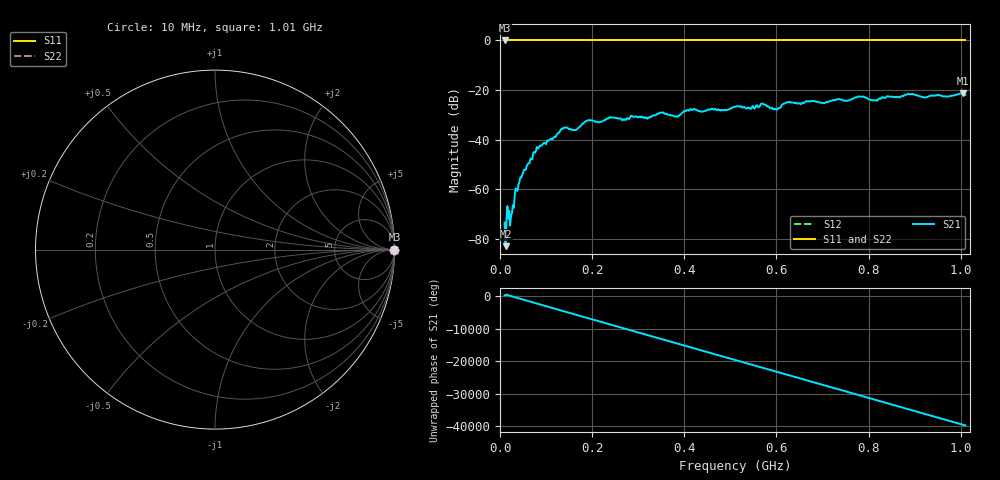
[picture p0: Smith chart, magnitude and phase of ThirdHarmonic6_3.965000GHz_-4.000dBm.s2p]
! 8/17/2025 2:05:12 PM
! C:\ANRITSUVNA\TEMP\TEMP.S2P
! CHANNEL.1
! TR.MEASUREMENT
! RAW.DATA
! RF.CORRECTION.OFF
! AVERAGING.OFF
! IF.BANDWIDTH: 5KHZ
! SWEEPTYPE:  FREQ.SWEEP(Linear)
! Reference Plane Port Info
! PORT:  PORT1  PORT2
! DISTANCE:  0  m  0  m
! TIME:  0  s  0  s
! PHASE.OFFSET:  0  deg.  0  deg.
! LOSS:  0  dB  0  dB
! REF.LOSS:  0  dB  0  dB
! REF.FREQ:  0  Hz  0  Hz
! Power Info
! POWER:  -20  dBm  -20  dBm
! EFF.POWER:  -20  dBm  -20  dBm
! SOURCE.ATTEN:  0  dB  0  dB
! TEST.ATTEN:  0  dB  0  dB
# GHZ S RI R 50.0
! FREQ.GHZ  S11RE  S11IM  S21RE  S21IM  S12RE  S12IM  S22RE  S22IM
!; PortSelection: Port_12
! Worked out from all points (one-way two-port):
!   501 points, 10 MHz to 1.01 GHz, reference 50 ohm
!   highest |S21| = -21.31 dB at 1.004 GHz (marker M1); lowest = -82.9 dB at 12 MHz (marker M2)
!   lowest |S11| = 0.0 dB at 10 MHz (marker M3)
!   |S11| at or under -10 dB: nowhere
!   |S22| runs from 0.0 to 0.0 dB; largest |S21 - S12| = 1.1
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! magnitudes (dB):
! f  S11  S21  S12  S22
! 10 MHz  0.0  -73.5  0.0  0.0
! 12 MHz  0.0  -82.9  0.0  0.0
! 26 MHz  0.0  -69.6  0.0  0.0
! 36 MHz  0.0  -60.4  0.0  0.0
! 48 MHz  0.0  -54.4  0.0  0.0
! 76 MHz  0.0  -45.2  0.0  0.0
! 136 MHz  0.0  -35.7  0.0  0.0
! 162 MHz  0.0  -36.1  0.0  0.0
! 178 MHz  0.0  -33.7  0.0  0.0
! 192 MHz  0.0  -32.2  0.0  0.0
! 318 MHz  0.0  -31.2  0.0  0.0
! 344 MHz  0.0  -29.5  0.0  0.0
! 384 MHz  0.0  -30.6  0.0  0.0
! 410 MHz  0.0  -28.3  0.0  0.0
! 510 MHz  0.0  -26.7  0.0  0.0
! 570 MHz  0.0  -25.4  0.0  0.0
! 598 MHz  0.0  -27.6  0.0  0.0
! 624 MHz  0.0  -24.9  0.0  0.0
! 678 MHz  0.0  -24.4  0.0  0.0
! 844 MHz  0.0  -22.6  0.0  0.0
! 1.004 GHz  0.0  -21.3  0.0  0.0
! 1.01 GHz  0.0  -22.0  0.0  0.0
